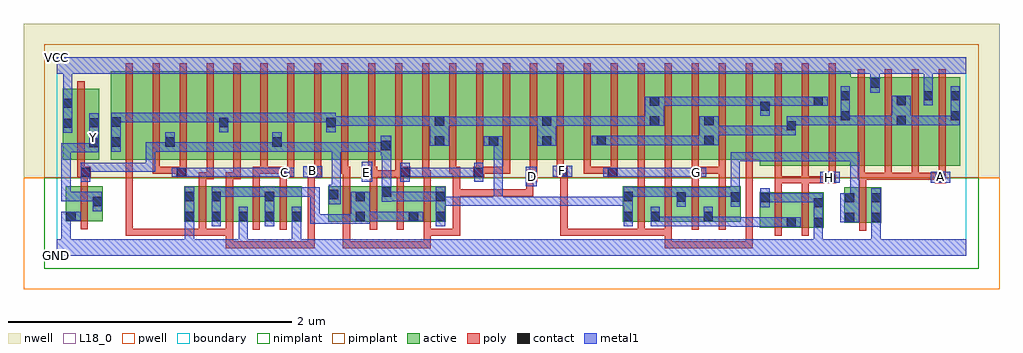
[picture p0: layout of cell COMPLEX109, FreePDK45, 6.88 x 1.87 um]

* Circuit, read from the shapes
.subckt COMPLEX109 A B C D E F G GND H VCC Y
M1 Y n1 GND VSUBS nfet w=0.25u l=0.05u
M2 n2 B GND VSUBS nfet w=0.25u l=0.05u m=2
M3 n2 C GND VSUBS nfet w=0.25u l=0.05u m=2
M4 n2 D n1 VSUBS nfet w=0.25u l=0.05u m=2
M5 n1 E n2 VSUBS nfet w=0.25u l=0.05u m=2
M6 n3 F n1 VSUBS nfet w=0.25u l=0.05u m=2
M7 n3 G n1 VSUBS nfet w=0.25u l=0.05u m=2
M8 n3 H GND VSUBS nfet w=0.25u l=0.05u m=2
M9 GND A n1 VSUBS nfet w=0.25u l=0.05u
M10 Y n1 VCC n4 pfet w=0.5u l=0.05u
M11 n5 B n6 n4 pfet w=0.625u l=0.05u
M12 n1 C n5 n4 pfet w=0.625u l=0.05u
M13 n7 C n1 n4 pfet w=0.625u l=0.05u
M14 n6 B n7 n4 pfet w=0.625u l=0.05u
M15 n8 B n6 n4 pfet w=0.625u l=0.05u
M16 n1 C n8 n4 pfet w=0.625u l=0.05u
M17 n9 C n1 n4 pfet w=0.625u l=0.05u
M18 n6 B n9 n4 pfet w=0.625u l=0.05u
M19 n10 D n6 n4 pfet w=0.625u l=0.05u
M20 n1 E n10 n4 pfet w=0.625u l=0.05u
M21 n11 E n1 n4 pfet w=0.625u l=0.05u
M22 n6 D n11 n4 pfet w=0.625u l=0.05u
M23 n12 D n6 n4 pfet w=0.625u l=0.05u
M24 n1 E n12 n4 pfet w=0.625u l=0.05u
M25 n13 E n1 n4 pfet w=0.625u l=0.05u
M26 n6 D n13 n4 pfet w=0.625u l=0.05u
M27 n14 F n6 n4 pfet w=0.625u l=0.05u
M28 n15 G n14 n4 pfet w=0.625u l=0.05u
M29 n16 G n15 n4 pfet w=0.625u l=0.05u
M30 n6 F n16 n4 pfet w=0.625u l=0.05u
M31 n17 F n6 n4 pfet w=0.625u l=0.05u
M32 n15 G n17 n4 pfet w=0.625u l=0.05u
M33 n18 G n15 n4 pfet w=0.625u l=0.05u
M34 n6 F n18 n4 pfet w=0.625u l=0.05u
M35 n15 H n6 n4 pfet w=0.667u l=0.05u m=3
M36 VCC A n15 n4 pfet w=0.625u l=0.05u m=4
.ends

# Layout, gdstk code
import gdstk
lib = gdstk.Library(unit=1e-6, precision=1e-09)
def R(c, l, rs):  # rectangles x0, y0, x1, y1
    for r in rs: c.add(gdstk.rectangle(r[:2], r[2:], *l))
def A(c, l, x, y, w, h, nx, ny, dx, dy):  # array of equal rectangles
    R(c, l, [(x+i*dx, y+j*dy, x+i*dx+w, y+j*dy+h) for i in range(nx) for j in range(ny)])
active = (1, 0)
pwell = (2, 0)
nwell = (3, 0)
nimplant = (4, 0)
pimplant = (5, 0)
poly = (9, 0)
contact = (10, 0)
metal1 = (11, 0)
L18_0 = (18, 0)
boundary = (235, 0)

complex109 = lib.new_cell('COMPLEX109')
A(complex109, active, 0.38, 0.677, 0.225, 0.625, 3, 1, 0.38, 0)
A(complex109, active, 2.125, 0.677, 0.23, 0.625, 3, 1, 0.38, 0)
A(complex109, active, 2.28, 0.677, 0.225, 0.625, 3, 1, 0.38, 0)
A(complex109, active, 2.28, 0.677, 0.075, 0.393, 4, 1, 0.76, 0)
R(complex109, active, [(4.955,0.197,5.215,0.447), (5.14,0.197,5.405,0.447), (5.33,0.197,5.405,0.447), (5.14,0.2,5.215,0.447), (5.552,0.232,5.627,0.482), (5.552,0.232,5.812,0.482), (5.737,0.232,5.812,0.482), (0.897,0.24,0.972,0.49), (0.897,0.24,1.162,0.49), (1.087,0.24,1.352,0.49), (1.087,0.24,1.162,0.455), (1.277,0.24,1.537,0.49), (1.277,0.24,1.352,0.387), (1.462,0.24,1.727,0.49), (1.462,0.24,1.537,0.467), (1.652,0.24,1.727,0.49), (1.912,0.24,2.177,0.49), (2.102,0.24,2.362,0.49), (2.102,0.24,2.177,0.467), (2.287,0.24,2.552,0.49), (2.477,0.24,2.742,0.49), (2.477,0.24,2.552,0.387), (2.667,0.24,2.742,0.49), (3.99,0.24,4.065,0.49), (3.99,0.24,4.255,0.49), (4.18,0.24,4.44,0.49), (4.18,0.24,4.255,0.387), (4.365,0.24,4.63,0.49), (4.555,0.24,4.82,0.49), (4.555,0.24,4.63,0.467), (0.062,0.242,0.137,0.492), (0.062,0.242,0.322,0.492), (0.247,0.245,0.322,0.492), (1.912,0.245,1.987,0.49), (2.287,0.245,2.362,0.49), (4.365,0.245,4.44,0.452), (4.745,0.245,4.82,0.49), (4.955,0.245,5.03,0.447), (4.955,0.635,5.215,1.302), (5.14,0.635,5.405,1.302), (5.14,0.635,5.215,1.07), (5.33,0.635,5.595,1.302), (5.52,0.635,5.805,1.26), (5.73,0.635,5.805,1.26), (5.73,0.635,5.99,1.26), (5.915,0.635,5.99,1.2), (5.915,0.635,6.18,1.26), (6.105,0.635,6.37,1.26), (6.105,0.635,6.18,1.26), (6.295,0.635,6.37,1.2), (5.33,0.64,5.405,1.2), (0.04,0.677,0.3,1.177), (0.225,0.677,0.3,1.105), (0.38,0.677,0.485,1.2), (0.605,0.677,0.835,1.302), (0.76,0.677,0.835,1.07), (0.985,0.677,1.215,1.302), (1.14,0.677,1.215,1.2), (1.365,0.677,1.59,1.302), (1.515,0.677,1.59,1.07), (1.515,0.677,1.745,1.302), (1.745,0.677,1.97,1.302), (1.895,0.677,2.125,1.302), (2.66,0.677,2.735,1.2), (3.265,0.677,3.49,1.302), (3.415,0.677,3.645,1.302), (3.415,0.677,3.49,1.2), (3.645,0.677,3.875,1.302), (3.8,0.677,4.025,1.302), (4.025,0.677,4.25,1.302), (4.175,0.677,4.405,1.302), (4.405,0.677,4.635,1.302), (4.56,0.677,4.785,1.302), (4.785,0.677,5.03,1.302), (1.895,0.682,1.97,1.2), (4.175,0.682,4.25,1.2), (4.955,0.682,5.03,1.2), (5.52,0.682,5.595,1.2), (0.04,0.687,0.115,1.177)])
R(complex109, pwell, [(-0.235,-0.235,6.645,0.55)])
R(complex109, nwell, [(-0.235,0.55,6.645,1.635)])
R(complex109, nimplant, [(-0.09,-0.09,6.5,0.55)])
R(complex109, pimplant, [(-0.09,0.55,6.5,1.49)])
A(complex109, poly, 1.002, 0.185, 0.05, 0.36, 4, 1, 0.19, 0)
A(complex109, poly, 2.017, 0.185, 0.05, 0.36, 4, 1, 0.19, 0)
A(complex109, poly, 4.095, 0.185, 0.05, 0.36, 4, 1, 0.19, 0)
A(complex109, poly, 2.207, 0.495, 0.05, 0.107, 3, 1, 0.19, 0)
A(complex109, poly, 5.645, 0.535, 0.05, 0.095, 4, 1, 0.19, 0)
A(complex109, poly, 2.005, 0.577, 0.05, 0.095, 3, 1, 0.19, 0)
A(complex109, poly, 2.765, 0.577, 0.05, 0.095, 3, 1, 0.19, 0)
A(complex109, poly, 3.525, 0.577, 0.05, 0.095, 3, 1, 0.19, 0)
A(complex109, poly, 4.285, 0.577, 0.05, 0.095, 3, 1, 0.19, 0)
A(complex109, poly, 5.06, 0.58, 0.05, 0.777, 3, 1, 0.19, 0)
A(complex109, poly, 5.645, 0.58, 0.05, 0.735, 4, 1, 0.19, 0)
A(complex109, poly, 0.485, 0.622, 0.05, 0.735, 24, 1, 0.19, 0)
R(complex109, poly, [(1.192,0.052,1.242,0.102), (1.192,0.052,1.242,0.102), (1.192,0.052,1.242,0.19), (1.192,0.052,1.427,0.102), (1.377,0.052,1.427,0.102), (1.377,0.052,1.427,0.102), (1.377,0.052,1.427,0.102), (1.377,0.052,1.685,0.102), (1.635,0.052,1.685,0.102), (1.635,0.052,1.817,0.102), (1.767,0.052,1.817,0.102), (1.767,0.052,1.817,0.102), (1.767,0.052,1.817,0.102), (1.767,0.052,1.817,0.102), (1.767,0.052,1.817,0.102), (1.767,0.052,1.817,0.102), (1.767,0.052,1.817,0.102), (1.767,0.052,1.817,0.6), (2.017,0.052,2.067,0.102), (2.017,0.052,2.067,0.102), (2.017,0.052,2.067,0.102), (2.017,0.052,2.302,0.102), (2.017,0.052,2.067,0.235), (2.252,0.052,2.302,0.102), (2.252,0.052,2.302,0.102), (2.252,0.052,2.302,0.102), (2.252,0.052,2.492,0.102), (2.442,0.052,2.492,0.102), (2.442,0.052,2.492,0.102), (2.442,0.052,2.492,0.102), (2.442,0.052,2.637,0.102), (2.587,0.052,2.637,0.19), (4.285,0.052,4.335,0.102), (4.285,0.052,4.335,0.102), (4.285,0.052,4.582,0.102), (4.285,0.052,4.335,0.19), (4.532,0.052,4.582,0.102), (4.532,0.052,4.772,0.102), (4.722,0.052,4.772,0.102), (4.722,0.052,4.772,0.102), (4.722,0.052,4.772,0.102), (4.722,0.052,4.905,0.102), (4.855,0.052,4.905,0.102), (4.855,0.052,4.905,0.102), (4.855,0.052,4.905,0.102), (4.855,0.052,4.905,0.102), (4.855,0.052,4.905,0.102), (4.855,0.052,4.905,0.102), (4.855,0.052,4.905,0.102), (4.855,0.052,4.905,0.102), (4.855,0.052,4.905,0.102), (4.855,0.052,4.905,0.672), (0.485,0.14,0.535,0.19), (0.485,0.14,0.535,0.19), (0.485,0.14,0.535,0.19), (0.485,0.14,0.535,0.19), (0.485,0.14,0.535,0.19), (0.485,0.14,0.535,0.19), (0.485,0.14,0.535,0.19), (0.485,0.14,0.757,0.19), (0.485,0.14,0.535,0.672), (0.707,0.14,0.757,0.19), (0.707,0.14,0.757,0.19), (0.707,0.14,0.757,0.19), (0.707,0.14,0.757,0.19), (0.707,0.14,0.757,0.19), (0.707,0.14,0.92,0.19), (0.87,0.14,0.92,0.19), (0.87,0.14,0.92,0.19), (0.87,0.14,0.92,0.19), (0.87,0.14,1.052,0.19), (1.002,0.14,1.052,0.235), (1.002,0.14,1.052,0.19), (1.002,0.14,1.052,0.19), (1.002,0.14,1.052,0.19), (1.002,0.14,1.242,0.19), (1.192,0.14,1.242,0.235), (2.587,0.14,2.637,0.235), (2.587,0.14,2.637,0.19), (2.587,0.14,2.637,0.19), (2.587,0.14,2.842,0.19), (2.792,0.14,2.842,0.47), (3.55,0.14,3.6,0.19), (3.55,0.14,3.6,0.19), (3.55,0.14,3.6,0.19), (3.55,0.14,3.6,0.19), (3.55,0.14,3.6,0.19), (3.55,0.14,3.797,0.19), (3.55,0.14,3.6,0.602), (3.747,0.14,3.797,0.19), (3.747,0.14,3.797,0.19), (3.747,0.14,3.797,0.19), (3.747,0.14,3.94,0.19), (3.89,0.14,3.94,0.19), (3.89,0.14,3.94,0.19), (3.89,0.14,3.94,0.19), (3.89,0.14,3.94,0.19), (3.89,0.14,3.94,0.19), (3.89,0.14,4.145,0.19), (4.095,0.14,4.145,0.235), (4.095,0.14,4.145,0.19), (4.095,0.14,4.145,0.19), (4.095,0.14,4.145,0.19), (4.095,0.14,4.335,0.19), (4.285,0.14,4.335,0.235), (5.06,0.142,5.11,0.502), (5.25,0.142,5.3,0.502), (5.657,0.177,5.707,0.537), (0.167,0.187,0.217,0.547), (2.792,0.42,2.842,0.47), (2.792,0.42,2.842,0.47), (2.792,0.42,3.062,0.47), (2.792,0.42,2.842,0.627), (3.012,0.42,3.062,0.47), (3.012,0.42,3.195,0.47), (3.145,0.42,3.195,0.47), (3.145,0.42,3.195,0.47), (3.145,0.42,3.195,0.47), (3.145,0.42,3.195,0.47), (3.145,0.42,3.195,0.47), (3.145,0.42,3.36,0.47), (3.31,0.42,3.36,0.47), (3.31,0.42,3.36,0.47), (3.31,0.42,3.36,0.47), (3.31,0.42,3.36,0.47), (3.31,0.42,3.36,0.47), (3.31,0.42,3.36,0.572), (5.06,0.452,5.11,0.56), (5.25,0.452,5.3,0.56), (5.657,0.487,5.707,0.585), (1.002,0.495,1.052,0.59), (1.192,0.495,1.242,0.59), (1.382,0.495,1.432,0.627), (1.572,0.495,1.622,0.602), (2.017,0.495,2.067,0.627), (4.095,0.495,4.145,0.59), (4.285,0.495,4.335,0.627), (4.475,0.495,4.525,0.602), (4.665,0.495,4.715,0.627), (0.167,0.497,0.217,0.602), (5.06,0.51,5.11,0.56), (5.06,0.51,5.3,0.56), (5.06,0.51,5.11,0.63), (5.25,0.51,5.3,0.56), (5.25,0.51,5.3,0.56), (5.25,0.51,5.3,0.56), (5.25,0.51,5.465,0.56), (5.25,0.51,5.3,0.63), (5.415,0.51,5.465,0.56), (5.415,0.51,5.465,0.56), (5.415,0.51,5.49,0.585), (6.19,0.51,6.265,0.585), (3.31,0.522,3.385,0.607), (5.44,0.535,5.49,0.63), (5.645,0.535,5.707,0.585), (5.657,0.535,5.707,0.585), (5.657,0.535,5.707,0.585), (5.657,0.535,5.885,0.585), (5.835,0.535,5.885,0.585), (5.835,0.535,6.075,0.585), (6.025,0.535,6.075,0.585), (6.025,0.535,6.075,0.585), (6.025,0.535,6.075,0.585), (6.025,0.535,6.24,0.585), (6.19,0.535,6.24,0.585), (6.19,0.535,6.24,0.585), (1.002,0.54,1.105,0.59), (1.055,0.54,1.105,0.672), (1.192,0.54,1.295,0.59), (1.245,0.54,1.295,0.672), (4.095,0.54,4.145,0.59), (4.095,0.54,4.145,0.672), (1.767,0.55,1.865,0.625), (0.145,0.552,0.24,0.627), (0.84,0.552,0.915,0.627), (1.567,0.552,1.675,0.627), (2.155,0.552,2.257,0.627), (2.207,0.552,2.257,0.602), (2.207,0.552,2.257,0.602), (2.207,0.552,2.435,0.602), (2.385,0.552,2.492,0.627), (2.575,0.552,2.637,0.602), (2.575,0.552,2.625,0.672), (2.937,0.552,3.012,0.627), (3.525,0.552,3.6,0.627), (3.88,0.552,3.955,0.627), (4.472,0.552,4.547,0.627), (3.335,0.557,3.385,0.672), (1.815,0.575,1.865,0.672), (0.145,0.577,0.195,0.672), (0.675,0.577,0.725,0.672), (0.675,0.577,0.725,0.627), (0.675,0.577,0.725,0.627), (0.675,0.577,0.725,0.627), (0.675,0.577,0.89,0.627), (0.865,0.577,0.915,0.672), (1.382,0.577,1.485,0.627), (1.435,0.577,1.485,0.672), (1.435,0.577,1.485,0.627), (1.435,0.577,1.485,0.627), (1.435,0.577,1.617,0.627), (1.625,0.577,1.675,0.672), (2.005,0.577,2.067,0.627), (2.765,0.577,2.815,0.627), (2.765,0.577,2.815,0.627), (2.765,0.577,2.842,0.627), (2.792,0.577,2.842,0.627), (2.792,0.577,2.842,0.627), (2.962,0.577,3.195,0.627), (3.145,0.577,3.195,0.627), (3.145,0.577,3.195,0.627), (3.145,0.577,3.195,0.627), (3.715,0.577,3.765,0.627), (3.715,0.577,3.765,0.627), (3.715,0.577,3.765,0.627), (3.715,0.577,3.93,0.627), (4.285,0.577,4.335,0.627), (4.497,0.577,4.547,0.627), (4.497,0.577,4.547,0.627), (4.497,0.577,4.715,0.627), (4.665,0.577,4.715,0.627), (0.145,0.622,0.195,1.232)])
A(complex109, contact, 0.902, 0.245, 0.065, 0.065, 3, 1, 0.19, 0)
R(complex109, contact, [(5.335,0.202,5.4,0.267), (5.145,0.205,5.21,0.27), (5.557,0.237,5.622,0.302), (5.742,0.237,5.807,0.302), (1.467,0.245,1.532,0.31), (1.657,0.245,1.722,0.31), (2.107,0.245,2.172,0.31), (2.482,0.245,2.547,0.31), (2.672,0.245,2.737,0.31), (3.995,0.245,4.06,0.31), (4.185,0.245,4.25,0.31), (4.56,0.245,4.625,0.31), (0.067,0.247,0.132,0.312), (5.335,0.342,5.4,0.407), (0.252,0.35,0.317,0.415), (4.96,0.377,5.025,0.442), (5.557,0.377,5.622,0.442), (5.742,0.377,5.807,0.442), (4.37,0.382,4.435,0.447), (4.75,0.382,4.815,0.447), (0.902,0.385,0.967,0.45), (1.092,0.385,1.157,0.45), (1.467,0.385,1.532,0.45), (2.107,0.385,2.172,0.45), (2.672,0.385,2.737,0.45), (3.995,0.385,4.06,0.45), (1.917,0.4,1.982,0.465), (2.292,0.417,2.357,0.482), (5.42,0.515,5.485,0.58), (6.195,0.515,6.26,0.58), (3.315,0.527,3.38,0.592), (1.772,0.555,1.837,0.62), (0.17,0.557,0.235,0.622), (0.845,0.557,0.91,0.622), (1.572,0.557,1.637,0.622), (2.16,0.557,2.225,0.622), (2.422,0.557,2.487,0.622), (2.942,0.557,3.007,0.622), (3.53,0.557,3.595,0.622), (3.885,0.557,3.95,0.622), (4.477,0.557,4.542,0.622), (2.285,0.745,2.35,0.81), (0.23,0.765,0.295,0.83), (0.385,0.77,0.45,0.835), (0.765,0.77,0.83,0.835), (1.52,0.77,1.585,0.835), (2.665,0.777,2.73,0.842), (3.045,0.777,3.11,0.842), (3.42,0.777,3.485,0.842), (3.805,0.78,3.87,0.845), (4.565,0.78,4.63,0.845), (5.145,0.885,5.21,0.95), (0.045,0.902,0.11,0.967), (0.23,0.905,0.295,0.97), (1.145,0.907,1.21,0.972), (1.9,0.907,1.965,0.972), (0.385,0.91,0.45,0.975), (2.665,0.917,2.73,0.982), (3.42,0.917,3.485,0.982), (4.18,0.917,4.245,0.982), (4.565,0.92,4.63,0.985), (5.92,0.922,5.985,0.987), (5.525,0.955,5.59,1.02), (6.3,0.955,6.365,1.02), (4.96,1.022,5.025,1.087), (0.045,1.042,0.11,1.107), (4.18,1.057,4.245,1.122), (5.335,1.057,5.4,1.122), (5.92,1.062,5.985,1.127), (5.525,1.095,5.59,1.16), (6.11,1.095,6.175,1.16), (6.3,1.095,6.365,1.16), (5.735,1.185,5.8,1.25)])
R(complex109, metal1, [(0,0,6.41,0.115), (0.032,0.05,0.097,0.115), (0.032,0.05,0.097,0.115), (0.032,0.05,0.097,0.115), (0.032,0.05,0.097,0.115), (0.032,0.05,0.097,0.312), (0.902,0.05,0.967,0.115), (0.902,0.05,0.967,0.115), (0.902,0.05,0.967,0.275), (1.282,0.05,1.347,0.115), (1.282,0.05,1.347,0.115), (1.282,0.05,1.347,0.275), (1.657,0.05,1.722,0.115), (1.657,0.05,1.722,0.115), (1.657,0.05,1.722,0.115), (1.657,0.05,1.722,0.115), (1.657,0.05,1.722,0.275), (5.335,0.05,5.4,0.232), (5.742,0.05,5.807,0.115), (5.742,0.05,5.807,0.115), (5.742,0.05,5.807,0.267), (5.335,0.167,5.4,0.442), (5.335,0.167,5.4,0.232), (5.335,0.167,5.4,0.232), (5.335,0.167,5.4,0.232), (5.335,0.167,5.4,0.232), (5.742,0.202,5.807,0.477), (5.742,0.202,5.807,0.267), (5.742,0.202,5.807,0.267), (4.75,0.205,4.815,0.27), (4.75,0.205,4.815,0.27), (4.75,0.205,5.025,0.27), (4.75,0.205,4.815,0.275), (4.96,0.205,5.025,0.27), (4.96,0.205,5.025,0.27), (4.96,0.205,5.025,0.27), (4.96,0.205,5.175,0.27), (5.11,0.205,5.245,0.27), (1.092,0.207,1.157,0.485), (0.902,0.21,0.967,0.485), (0.902,0.21,0.967,0.275), (0.902,0.21,0.967,0.275), (1.282,0.21,1.347,0.275), (1.282,0.21,1.347,0.275), (1.282,0.21,1.347,0.345), (1.467,0.21,1.532,0.485), (1.657,0.21,1.722,0.345), (2.672,0.21,2.737,0.485), (3.995,0.21,4.06,0.485), (4.185,0.21,4.25,0.345), (4.185,0.21,4.297,0.275), (4.232,0.21,4.297,0.275), (4.232,0.21,4.457,0.275), (4.392,0.21,4.457,0.275), (4.392,0.21,4.457,0.275), (4.392,0.21,4.457,0.275), (4.392,0.21,4.625,0.275), (4.56,0.21,4.625,0.275), (4.56,0.21,4.625,0.275), (4.56,0.21,4.625,0.345), (4.56,0.21,4.815,0.275), (1.787,0.227,1.86,0.292), (1.787,0.227,1.852,0.482), (1.795,0.227,1.86,0.292), (1.795,0.227,1.86,0.292), (1.795,0.227,2.07,0.292), (2.005,0.227,2.07,0.292), (2.005,0.227,2.137,0.292), (2.072,0.227,2.207,0.45), (5.522,0.237,5.657,0.442), (2.142,0.245,2.207,0.31), (2.142,0.245,2.207,0.31), (2.142,0.245,2.357,0.31), (2.292,0.245,2.357,0.31), (2.292,0.245,2.512,0.31), (2.447,0.245,2.512,0.31), (2.447,0.245,2.512,0.31), (2.447,0.245,2.582,0.31), (0.032,0.247,0.167,0.312), (0.252,0.315,0.317,0.45), (4.96,0.342,5.025,0.477), (4.37,0.347,4.435,0.482), (4.75,0.347,4.815,0.482), (2.672,0.352,2.8,0.417), (2.735,0.352,2.8,0.417), (2.735,0.352,2.937,0.417), (2.872,0.352,2.937,0.417), (2.872,0.352,2.937,0.417), (2.872,0.352,2.937,0.417), (2.872,0.352,3.145,0.417), (3.08,0.352,3.145,0.417), (3.08,0.352,3.145,0.417), (3.08,0.352,3.145,0.417), (3.08,0.352,3.282,0.417), (3.08,0.352,3.145,0.842), (3.217,0.352,3.282,0.417), (3.217,0.352,3.282,0.417), (3.217,0.352,3.282,0.417), (3.217,0.352,3.42,0.417), (3.355,0.352,3.42,0.417), (3.355,0.352,3.42,0.417), (3.355,0.352,3.42,0.417), (3.355,0.352,3.697,0.417), (3.632,0.352,3.697,0.417), (3.632,0.352,3.697,0.417), (3.632,0.352,3.697,0.417), (3.632,0.352,3.905,0.417), (3.84,0.352,3.905,0.417), (3.84,0.352,3.905,0.417), (3.84,0.352,3.905,0.417), (3.84,0.352,4.06,0.417), (1.917,0.365,2.002,0.5), (4.96,0.377,5.025,0.442), (4.96,0.377,5.025,0.442), (4.96,0.377,5.227,0.442), (5.162,0.377,5.227,0.442), (5.162,0.377,5.227,0.442), (5.162,0.377,5.227,0.442), (5.162,0.377,5.4,0.442), (5.335,0.377,5.4,0.442), (5.335,0.377,5.4,0.442), (5.592,0.377,5.657,0.442), (5.592,0.377,5.657,0.442), (5.592,0.377,5.657,0.73), (2.292,0.382,2.357,0.517), (0.032,0.385,0.097,0.45), (0.032,0.385,0.097,0.45), (0.032,0.385,0.097,0.45), (0.032,0.385,0.097,0.45), (0.032,0.385,0.097,0.45), (0.032,0.385,0.097,0.45), (0.032,0.385,0.097,0.45), (0.032,0.385,0.317,0.45), (0.032,0.385,0.097,0.795), (2.292,0.385,2.495,0.45), (2.43,0.385,2.495,0.45), (2.43,0.385,2.495,0.45), (2.43,0.385,2.495,0.45), (2.43,0.385,2.65,0.45), (2.585,0.385,2.65,0.45), (2.585,0.385,2.737,0.45), (1.092,0.417,1.242,0.482), (1.177,0.417,1.242,0.482), (1.177,0.417,1.395,0.482), (1.33,0.417,1.395,0.482), (1.33,0.417,1.395,0.482), (1.33,0.417,1.395,0.482), (1.33,0.417,1.532,0.482), (1.467,0.417,1.532,0.482), (1.467,0.417,1.532,0.482), (1.467,0.417,1.722,0.482), (1.657,0.417,1.722,0.482), (1.657,0.417,1.852,0.482), (1.787,0.417,1.852,0.482), (3.995,0.417,4.142,0.482), (4.077,0.417,4.142,0.482), (4.077,0.417,4.297,0.482), (4.232,0.417,4.297,0.482), (4.232,0.417,4.297,0.482), (4.232,0.417,4.297,0.482), (4.232,0.417,4.435,0.482), (4.37,0.417,4.435,0.482), (4.37,0.417,4.435,0.482), (4.37,0.417,4.677,0.482), (4.612,0.417,4.677,0.482), (4.612,0.417,4.677,0.482), (4.612,0.417,4.677,0.482), (4.612,0.417,4.815,0.482), (4.75,0.417,4.815,0.482), (4.75,0.417,4.815,0.482), (4.75,0.417,4.815,0.73), (1.937,0.435,2.002,0.8), (2.292,0.452,2.357,0.517), (2.292,0.452,2.357,0.517), (2.292,0.452,2.357,0.775), (3.305,0.49,3.382,0.627), (5.382,0.515,5.52,0.592), (6.16,0.515,6.297,0.592), (0.17,0.522,0.235,0.657), (2.15,0.522,2.225,0.662), (2.422,0.522,2.487,0.657), (2.942,0.522,3.007,0.657), (1.737,0.555,1.872,0.632), (0.81,0.557,0.945,0.622), (0.88,0.557,0.967,0.622), (0.902,0.557,0.967,0.622), (0.902,0.557,1.105,0.622), (1.04,0.557,1.105,0.622), (1.04,0.557,1.105,0.622), (1.04,0.557,1.105,0.622), (1.04,0.557,1.257,0.622), (1.192,0.557,1.257,0.622), (1.192,0.557,1.395,0.622), (1.33,0.557,1.395,0.622), (1.33,0.557,1.395,0.622), (1.33,0.557,1.395,0.622), (1.33,0.557,1.532,0.622), (1.467,0.557,1.532,0.622), (1.467,0.557,1.602,0.622), (1.537,0.557,1.672,0.622), (2.422,0.557,2.512,0.622), (2.447,0.557,2.512,0.622), (2.447,0.557,2.65,0.622), (2.585,0.557,2.65,0.622), (2.585,0.557,2.65,0.622), (2.585,0.557,2.65,0.622), (2.585,0.557,2.8,0.622), (2.735,0.557,2.8,0.622), (2.735,0.557,2.902,0.622), (2.837,0.557,2.902,0.622), (2.837,0.557,3.007,0.622), (3.495,0.557,3.632,0.635), (3.85,0.557,3.985,0.622), (3.92,0.557,4.072,0.622), (4.007,0.557,4.072,0.622), (4.007,0.557,4.142,0.622), (4.077,0.557,4.142,0.622), (4.077,0.557,4.297,0.622), (4.232,0.557,4.297,0.622), (4.232,0.557,4.297,0.622), (4.232,0.557,4.297,0.622), (4.232,0.557,4.435,0.622), (4.37,0.557,4.435,0.622), (4.37,0.557,4.507,0.622), (4.442,0.557,4.577,0.622), (0.17,0.592,0.235,0.657), (0.17,0.592,0.235,0.657), (0.17,0.592,0.555,0.657), (0.49,0.592,0.555,0.657), (0.49,0.592,0.555,0.657), (0.49,0.592,0.555,0.657), (0.49,0.592,0.692,0.657), (0.627,0.592,0.692,0.657), (0.627,0.592,0.692,0.8), (4.75,0.665,4.815,0.73), (4.75,0.665,4.815,0.73), (4.75,0.665,4.815,0.73), (4.75,0.665,5.037,0.73), (4.972,0.665,5.037,0.73), (4.972,0.665,5.037,0.73), (4.972,0.665,5.037,0.73), (4.972,0.665,5.227,0.73), (5.162,0.665,5.227,0.73), (5.162,0.665,5.227,0.73), (5.162,0.665,5.227,0.73), (5.162,0.665,5.45,0.73), (5.385,0.665,5.45,0.73), (5.385,0.665,5.45,0.73), (5.385,0.665,5.45,0.73), (5.385,0.665,5.657,0.73), (5.592,0.665,5.657,0.73), (2.285,0.71,2.357,0.845), (0.032,0.73,0.097,0.795), (0.032,0.73,0.097,0.795), (0.032,0.73,0.097,0.795), (0.032,0.73,0.292,0.795), (0.227,0.73,0.295,1.005), (0.385,0.735,0.45,1.01), (0.627,0.735,0.692,0.8), (0.627,0.735,0.692,0.8), (0.627,0.735,0.692,0.8), (0.627,0.735,0.83,0.8), (0.765,0.735,0.83,0.8), (0.765,0.735,0.83,0.8), (0.765,0.735,0.83,0.87), (0.765,0.735,0.967,0.8), (0.902,0.735,0.967,0.8), (0.902,0.735,1.105,0.8), (1.04,0.735,1.105,0.8), (1.04,0.735,1.105,0.8), (1.04,0.735,1.105,0.8), (1.04,0.735,1.242,0.8), (1.177,0.735,1.242,0.8), (1.177,0.735,1.395,0.8), (1.33,0.735,1.395,0.8), (1.33,0.735,1.395,0.8), (1.33,0.735,1.395,0.8), (1.33,0.735,1.585,0.8), (1.52,0.735,1.585,0.8), (1.52,0.735,1.585,0.8), (1.52,0.735,1.585,0.87), (1.52,0.735,1.722,0.8), (1.657,0.735,1.722,0.8), (1.657,0.735,1.722,0.8), (1.657,0.735,1.722,0.8), (1.657,0.735,2.002,0.8), (1.937,0.735,2.002,0.8), (1.937,0.735,2.002,0.8), (1.937,0.735,2.002,0.8), (1.937,0.735,2.01,0.8), (1.945,0.735,2.01,0.8), (1.945,0.735,2.212,0.8), (2.147,0.735,2.212,0.8), (2.147,0.735,2.212,0.8), (2.147,0.735,2.212,0.8), (2.147,0.735,2.35,0.8), (2.63,0.777,2.765,0.982), (3.01,0.777,3.145,0.842), (3.08,0.777,3.145,0.842), (3.08,0.777,3.145,0.842), (3.385,0.777,3.52,0.982), (3.77,0.78,3.905,0.845), (3.84,0.78,3.905,0.845), (3.84,0.78,3.905,0.845), (3.84,0.78,4.042,0.845), (3.977,0.78,4.042,0.845), (3.977,0.78,4.142,0.845), (4.077,0.78,4.142,0.845), (4.077,0.78,4.297,0.845), (4.232,0.78,4.297,0.845), (4.232,0.78,4.297,0.845), (4.232,0.78,4.297,0.845), (4.232,0.78,4.457,0.845), (4.392,0.78,4.457,0.845), (4.392,0.78,4.457,0.845), (4.392,0.78,4.457,0.845), (4.392,0.78,4.595,0.845), (4.53,0.78,4.665,0.985), (4.6,0.85,4.665,0.915), (4.6,0.85,4.665,0.915), (4.6,0.85,4.815,0.915), (4.75,0.85,4.815,0.915), (4.75,0.85,4.815,0.915), (4.75,0.85,4.815,0.915), (4.75,0.85,5.037,0.915), (4.972,0.85,5.037,0.915), (4.972,0.85,5.037,0.915), (4.972,0.85,5.037,0.915), (4.972,0.85,5.21,0.915), (5.145,0.85,5.21,0.985), (0.045,0.867,0.11,1.142), (1.145,0.872,1.21,1.007), (1.9,0.872,1.965,1.007), (2.7,0.915,2.8,0.98), (2.735,0.915,2.8,0.98), (2.735,0.915,2.937,0.98), (2.872,0.915,2.937,0.98), (2.872,0.915,2.937,0.98), (2.872,0.915,2.937,0.98), (2.872,0.915,3.145,0.98), (3.08,0.915,3.145,0.98), (3.08,0.915,3.145,0.98), (3.08,0.915,3.145,0.98), (3.08,0.915,3.282,0.98), (3.217,0.915,3.282,0.98), (3.217,0.915,3.282,0.98), (3.217,0.915,3.282,0.98), (3.217,0.915,3.45,0.98), (1.9,0.917,2.07,0.982), (2.005,0.917,2.07,0.982), (2.005,0.917,2.212,0.982), (2.147,0.917,2.212,0.982), (2.147,0.917,2.212,0.982), (2.147,0.917,2.212,0.982), (2.147,0.917,2.357,0.982), (2.292,0.917,2.357,0.982), (2.292,0.917,2.495,0.982), (2.43,0.917,2.495,0.982), (2.43,0.917,2.495,0.982), (2.43,0.917,2.495,0.982), (2.43,0.917,2.65,0.982), (2.585,0.917,2.65,0.982), (2.585,0.917,2.695,0.982), (3.455,0.917,3.52,0.982), (3.455,0.917,3.52,0.982), (3.455,0.917,3.697,0.982), (3.632,0.917,3.697,0.982), (3.632,0.917,3.697,0.982), (3.632,0.917,3.697,0.982), (3.632,0.917,3.905,0.982), (3.84,0.917,3.905,0.982), (3.84,0.917,3.905,0.982), (3.84,0.917,3.905,0.982), (3.84,0.917,4.042,0.982), (3.977,0.917,4.042,0.982), (3.977,0.917,4.142,0.982), (4.077,0.917,4.142,0.982), (4.077,0.917,4.21,0.982), (4.145,0.917,4.28,1.122), (5.145,0.92,5.21,0.985), (5.145,0.92,5.21,0.985), (5.145,0.92,5.45,0.985), (5.385,0.92,5.59,0.985), (5.385,0.92,5.45,0.985), (5.385,0.92,5.45,0.985), (5.385,0.92,5.45,0.985), (5.525,0.92,5.59,1.195), (6.3,0.92,6.365,1.195), (5.525,0.922,5.812,0.987), (5.747,0.922,5.812,0.987), (5.747,0.922,5.812,0.987), (5.747,0.922,5.812,0.987), (5.747,0.922,5.95,0.987), (5.885,0.922,5.95,0.987), (5.885,0.922,5.95,0.987), (5.885,0.922,6.02,1.127), (5.955,0.922,6.087,0.987), (6.022,0.922,6.087,0.987), (6.022,0.922,6.225,0.987), (6.16,0.922,6.365,0.987), (6.16,0.922,6.225,0.987), (6.16,0.922,6.225,0.987), (6.16,0.922,6.225,0.987), (0.385,0.942,0.45,1.007), (0.385,0.942,0.45,1.007), (0.385,0.942,0.692,1.007), (0.627,0.942,0.692,1.007), (0.627,0.942,0.692,1.007), (0.627,0.942,0.692,1.007), (0.627,0.942,0.83,1.007), (0.765,0.942,0.83,1.007), (0.765,0.942,0.83,1.007), (0.765,0.942,0.83,1.007), (0.765,0.942,0.967,1.007), (0.902,0.942,0.967,1.007), (0.902,0.942,1.105,1.007), (1.04,0.942,1.105,1.007), (1.04,0.942,1.21,1.007), (1.145,0.942,1.242,1.007), (1.177,0.942,1.242,1.007), (1.177,0.942,1.395,1.007), (1.33,0.942,1.395,1.007), (1.33,0.942,1.395,1.007), (1.33,0.942,1.395,1.007), (1.33,0.942,1.532,1.007), (1.467,0.942,1.532,1.007), (1.467,0.942,1.532,1.007), (1.467,0.942,1.532,1.007), (1.467,0.942,1.722,1.007), (1.657,0.942,1.722,1.007), (1.657,0.942,1.722,1.007), (1.657,0.942,1.722,1.007), (1.657,0.942,1.965,1.007), (4.96,0.987,5.025,1.122), (4.215,1.057,4.28,1.122), (4.215,1.057,4.28,1.122), (4.215,1.057,4.457,1.122), (4.392,1.057,4.457,1.122), (4.392,1.057,4.457,1.122), (4.392,1.057,4.457,1.122), (4.392,1.057,4.677,1.122), (4.612,1.057,4.677,1.122), (4.612,1.057,4.677,1.122), (4.612,1.057,4.677,1.122), (4.612,1.057,4.887,1.122), (4.822,1.057,4.887,1.122), (4.822,1.057,4.887,1.122), (4.822,1.057,4.887,1.122), (4.822,1.057,5.025,1.122), (4.96,1.057,5.025,1.122), (4.96,1.057,5.025,1.122), (4.96,1.057,5.227,1.122), (5.162,1.057,5.227,1.122), (5.162,1.057,5.227,1.122), (5.162,1.057,5.227,1.122), (5.162,1.057,5.365,1.122), (5.3,1.057,5.435,1.122), (6.11,1.06,6.175,1.195), (0.045,1.077,0.11,1.142), (0.045,1.077,0.11,1.142), (0.045,1.077,0.11,1.35), (6.11,1.13,6.175,1.35), (5.735,1.15,5.8,1.285), (5.735,1.22,5.8,1.35), (0,1.285,6.41,1.4)])
R(complex109, L18_0, [(0,0,6.41,0.115), (0.032,0.05,0.097,0.115), (0.032,0.05,0.097,0.115), (0.032,0.05,0.097,0.115), (0.032,0.05,0.097,0.115), (0.032,0.05,0.097,0.312), (0.902,0.05,0.967,0.115), (0.902,0.05,0.967,0.115), (0.902,0.05,0.967,0.275), (1.282,0.05,1.347,0.115), (1.282,0.05,1.347,0.115), (1.282,0.05,1.347,0.275), (1.657,0.05,1.722,0.115), (1.657,0.05,1.722,0.115), (1.657,0.05,1.722,0.115), (1.657,0.05,1.722,0.115), (1.657,0.05,1.722,0.275), (5.335,0.05,5.4,0.232), (5.742,0.05,5.807,0.115), (5.742,0.05,5.807,0.115), (5.742,0.05,5.807,0.267), (5.335,0.167,5.4,0.232), (5.335,0.167,5.4,0.232), (5.335,0.167,5.4,0.232), (5.335,0.167,5.4,0.232), (5.335,0.167,5.4,0.442), (5.742,0.202,5.807,0.267), (5.742,0.202,5.807,0.267), (5.742,0.202,5.807,0.477), (0.902,0.21,0.967,0.275), (0.902,0.21,0.967,0.275), (0.902,0.21,0.967,0.485), (1.282,0.21,1.347,0.275), (1.282,0.21,1.347,0.275), (1.282,0.21,1.347,0.345), (1.657,0.21,1.722,0.345), (0.032,0.247,0.167,0.312), (0.252,0.315,0.317,0.45), (4.96,0.342,5.025,0.477), (4.96,0.377,5.025,0.442), (4.96,0.377,5.025,0.442), (4.96,0.377,5.227,0.442), (5.162,0.377,5.227,0.442), (5.162,0.377,5.227,0.442), (5.162,0.377,5.227,0.442), (5.162,0.377,5.4,0.442), (5.335,0.377,5.4,0.442), (5.335,0.377,5.4,0.442), (0.032,0.385,0.097,0.45), (0.032,0.385,0.097,0.45), (0.032,0.385,0.097,0.45), (0.032,0.385,0.097,0.45), (0.032,0.385,0.097,0.45), (0.032,0.385,0.097,0.45), (0.032,0.385,0.097,0.45), (0.032,0.385,0.097,0.795), (0.032,0.385,0.317,0.45), (3.305,0.49,3.382,0.627), (5.382,0.515,5.52,0.592), (6.16,0.515,6.297,0.592), (5.417,0.517,5.482,0.582), (2.15,0.522,2.225,0.662), (2.422,0.522,2.487,0.657), (2.942,0.522,3.007,0.657), (3.317,0.527,3.382,0.592), (6.197,0.527,6.262,0.592), (1.737,0.555,1.872,0.632), (0.81,0.557,0.945,0.622), (0.88,0.557,0.967,0.622), (0.902,0.557,0.967,0.622), (0.902,0.557,1.105,0.622), (1.04,0.557,1.105,0.622), (1.04,0.557,1.105,0.622), (1.04,0.557,1.105,0.622), (1.04,0.557,1.257,0.622), (1.192,0.557,1.257,0.622), (1.192,0.557,1.395,0.622), (1.33,0.557,1.395,0.622), (1.33,0.557,1.395,0.622), (1.33,0.557,1.395,0.622), (1.33,0.557,1.532,0.622), (1.467,0.557,1.532,0.622), (1.467,0.557,1.602,0.622), (1.537,0.557,1.672,0.622), (1.572,0.557,1.637,0.622), (2.152,0.557,2.217,0.622), (2.422,0.557,2.512,0.622), (2.447,0.557,2.512,0.622), (2.447,0.557,2.65,0.622), (2.585,0.557,2.65,0.622), (2.585,0.557,2.65,0.622), (2.585,0.557,2.65,0.622), (2.585,0.557,2.8,0.622), (2.735,0.557,2.8,0.622), (2.735,0.557,2.902,0.622), (2.837,0.557,2.902,0.622), (2.837,0.557,3.007,0.622), (3.495,0.557,3.632,0.635), (3.85,0.557,3.985,0.622), (3.92,0.557,4.072,0.622), (4.007,0.557,4.072,0.622), (4.007,0.557,4.142,0.622), (4.077,0.557,4.142,0.622), (4.077,0.557,4.297,0.622), (4.232,0.557,4.297,0.622), (4.232,0.557,4.297,0.622), (4.232,0.557,4.297,0.622), (4.232,0.557,4.435,0.622), (4.37,0.557,4.435,0.622), (4.37,0.557,4.507,0.622), (4.442,0.557,4.577,0.622), (4.477,0.557,4.542,0.622), (1.772,0.567,1.837,0.632), (3.532,0.567,3.597,0.632), (0.032,0.73,0.097,0.795), (0.032,0.73,0.097,0.795), (0.032,0.73,0.097,0.795), (0.032,0.73,0.292,0.795), (0.227,0.73,0.295,1.005), (0.227,0.802,0.292,0.867), (0.045,0.867,0.11,1.142), (6.11,1.06,6.175,1.195), (0.045,1.077,0.11,1.142), (0.045,1.077,0.11,1.142), (0.045,1.077,0.11,1.35), (6.11,1.13,6.175,1.35), (5.735,1.15,5.8,1.285), (5.735,1.22,5.8,1.35), (0,1.285,6.41,1.4)])
R(complex109, boundary, [(0,0,6.41,1.4)])
complex109.add(gdstk.Label('A', (6.23,0.56), layer=11, texttype=0))
complex109.add(gdstk.Label('B', (1.805,0.6), layer=11, texttype=0))
complex109.add(gdstk.Label('C', (1.605,0.59), layer=11, texttype=0))
complex109.add(gdstk.Label('D', (3.35,0.56), layer=11, texttype=0))
complex109.add(gdstk.Label('E', (2.185,0.59), layer=11, texttype=0))
complex109.add(gdstk.Label('F', (3.565,0.6), layer=11, texttype=0))
complex109.add(gdstk.Label('G', (4.51,0.59), layer=11, texttype=0))
complex109.add(gdstk.Label('H', (5.45,0.55), layer=11, texttype=0))
complex109.add(gdstk.Label('Y', (0.26,0.835), layer=11, texttype=0))
complex109.add(gdstk.Label('VCC', (0,1.4), layer=11, texttype=0))
complex109.add(gdstk.Label('GND', (0,0), layer=11, texttype=0))

lib.write_gds('COMPLEX109.gds')
